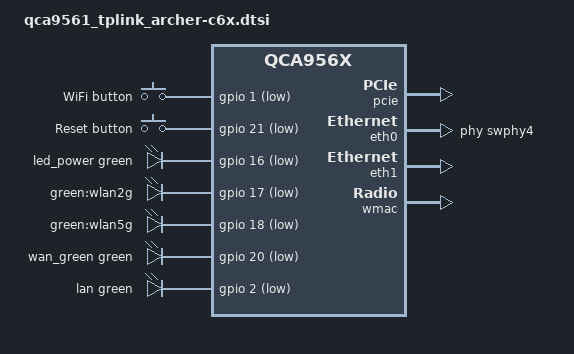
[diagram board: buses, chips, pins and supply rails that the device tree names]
// SPDX-License-Identifier: GPL-2.0-or-later OR MIT

#include "qca956x.dtsi"

#include <dt-bindings/gpio/gpio.h>
#include <dt-bindings/input/input.h>
#include <dt-bindings/leds/common.h>

/ {
	aliases {
		led-boot = &led_power;
		led-failsafe = &led_power;
		led-running = &led_power;
		led-upgrade = &led_power;
	};

	keys {
		compatible = "gpio-keys";

		wifi {
			label = "WiFi button";
			linux,code = <KEY_RFKILL>;
			gpios = <&gpio 1 GPIO_ACTIVE_LOW>;
		};

		reset {
			label = "Reset button";
			linux,code = <KEY_RESTART>;
			gpios = <&gpio 21 GPIO_ACTIVE_LOW>;
		};
	};

	leds: leds {
		compatible = "gpio-leds";

		led_power: power {
			function = LED_FUNCTION_POWER;
			color = <LED_COLOR_ID_GREEN>;
			gpios = <&gpio 16 GPIO_ACTIVE_LOW>;
			default-state = "on";
		};

		wlan2g {
			label = "green:wlan2g";
			gpios = <&gpio 17 GPIO_ACTIVE_LOW>;
			linux,default-trigger = "phy1tpt";
		};

		wlan5g {
			label = "green:wlan5g";
			gpios = <&gpio 18 GPIO_ACTIVE_LOW>;
			linux,default-trigger = "phy0tpt";
		};

		wan_green {
			function = LED_FUNCTION_WAN;
			color = <LED_COLOR_ID_GREEN>;
			gpios = <&gpio 20 GPIO_ACTIVE_LOW>;
		};

		lan {
			function = LED_FUNCTION_LAN;
			color = <LED_COLOR_ID_GREEN>;
			gpios = <&gpio 2 GPIO_ACTIVE_LOW>;
		};
	};
};

&pcie {
	status = "okay";
};

&eth0 {
	status = "okay";

	phy-handle = <&swphy4>;
};

&eth1 {
	status = "okay";
};

&wmac {
	status = "okay";
};
